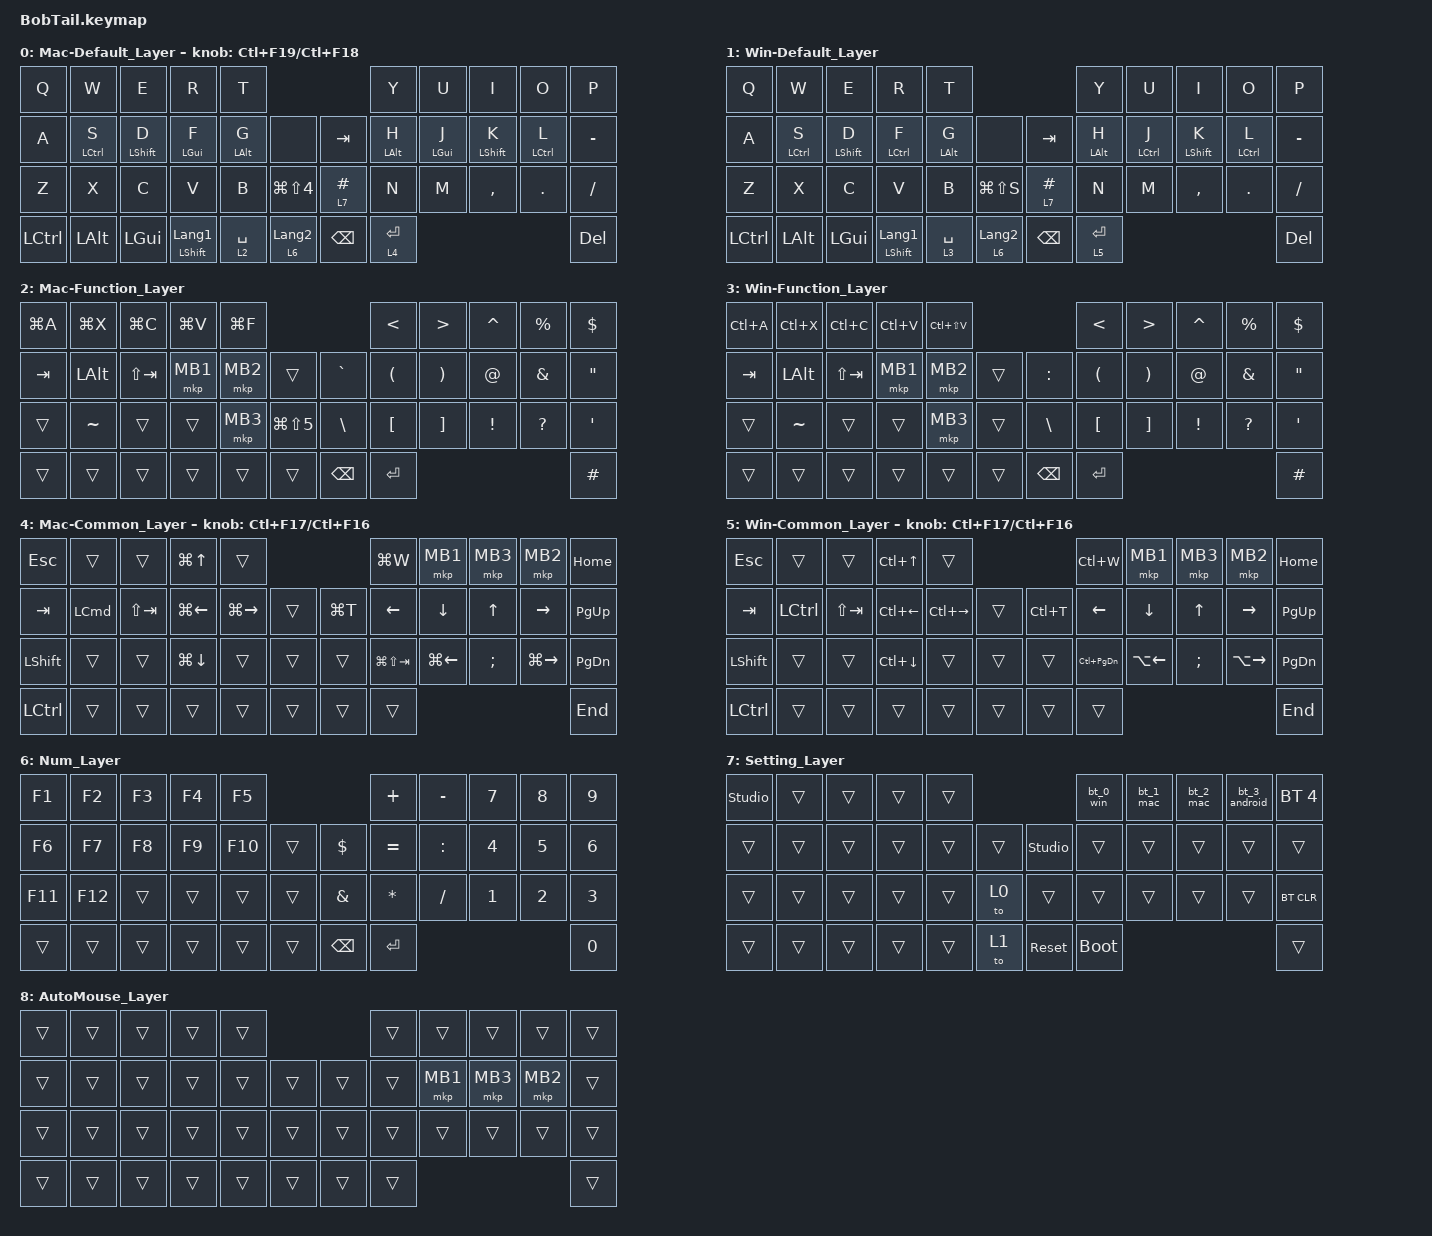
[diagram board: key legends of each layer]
#include <behaviors.dtsi>
#include <dt-bindings/zmk/bt.h>
#include <dt-bindings/zmk/keys.h>
#include <dt-bindings/zmk/pointing.h>

&mt {
    flavor = "balanced";
    quick-tap-ms = <0>;
};

/ {
    combos { compatible = "zmk,combos"; };

    macros {
        to_layer_0: to_layer_0 {
            compatible = "zmk,behavior-macro-one-param";
            #binding-cells = <1>;
            bindings = <&to 0 &macro_param_1to1 &kp MACRO_PLACEHOLDER>;
            label = "TO_LAYER_0";
        };

        bt_0_win: bt_0_win {
            compatible = "zmk,behavior-macro";
            #binding-cells = <0>;
            bindings = <&to 1>, <&macro_wait_time 200>, <&bt BT_SEL 0>;

            label = "BT_0_WIN";
            wait-ms = <200>;
        };

        bt_1_mac: bt_1_mac {
            compatible = "zmk,behavior-macro";
            #binding-cells = <0>;
            bindings = <&to 0>, <&macro_wait_time 200>, <&bt BT_SEL 1>;

            label = "BT_1_MAC";
        };

        bt_2_mac: bt_2_mac {
            compatible = "zmk,behavior-macro";
            #binding-cells = <0>;
            bindings = <&bt BT_SEL 2>, <&macro_wait_time 200>, <&to 0>;

            label = "BT_2_MAC";
        };

        bt_3_android: bt_3_android {
            compatible = "zmk,behavior-macro";
            #binding-cells = <0>;
            bindings = <&to 1>, <&macro_wait_time 200>, <&bt BT_SEL 3>;

            label = "BT_3_ANDROID";
        };
    };

    behaviors {
        // ホーム段の mod-tap。balanced にはしない。指を離すのが遅れると、次のキーと
        // 重なっただけで mod に化けて文字が飛ぶため、押した時間だけで判定する
        hmt: homerow_mod_time {
            compatible = "zmk,behavior-hold-tap";
            label = "HOMEROW_MOD_TIME";
            bindings = <&kp>, <&kp>;

            #binding-cells = <2>;
            flavor = "tap-preferred";
            tapping-term-ms = <280>;
            quick-tap-ms = <175>;
            require-prior-idle-ms = <150>;
        };

        lt_to_layer_0: lt_to_layer_0 {
            compatible = "zmk,behavior-hold-tap";
            label = "LAYER_TAP_TO_0";
            bindings = <&mo>, <&to_layer_0>;

            #binding-cells = <2>;
            tapping-term-ms = <200>;
        };
    };

    keymap {
        compatible = "zmk,keymap";

        Mac-Default_Layer {
            bindings = <
&kp Q      &kp W         &kp E         &kp R                      &kp T                                                &kp Y           &kp U       &kp I             &kp O       &kp P
&kp A      &hmt LCTRL S         &hmt LSHFT D         &hmt LGUI F                      &hmt LALT G           &none               &kp TAB          &hmt LALT H           &hmt LGUI J       &hmt LSHFT K             &hmt LCTRL L       &kp MINUS
&kp Z      &kp X         &kp C         &kp V                      &kp B           &kp LG(LS(N4))      &lt 7 HASH       &kp N           &kp M       &kp COMMA         &kp PERIOD  &kp SLASH
&kp LCTRL  &kp LEFT_ALT  &kp LEFT_GUI  &mt LEFT_SHIFT LANGUAGE_1  &lt 2 SPACE     &lt 6 LANGUAGE_2    &kp BACKSPACE    &lt 4 ENTER                                             &kp DELETE
            >;

            // Orcaのworktreeの切り替え。時計回りでCtrl+F19（前）、反時計回りでCtrl+F18（次）を送り、
            // Orcaの~/.orca/keybindings.jsonで割り当てる。Common以外のレイヤーにも透過する
            sensor-bindings = <&inc_dec_kp LC(F19) LC(F18)>;
        };

        Win-Default_Layer {
            bindings = <
&kp Q      &kp W         &kp E             &kp R                      &kp T                                                &kp Y           &kp U        &kp I             &kp O       &kp P
&kp A      &hmt LCTRL S         &hmt LSHFT D             &hmt LCTRL F                      &hmt LALT G           &none               &kp TAB          &hmt LALT H           &hmt LCTRL J        &hmt LSHFT K             &hmt LCTRL L       &kp MINUS
&kp Z      &kp X         &kp C             &kp V                      &kp B           &kp LG(LS(S))       &lt 7 HASH       &kp N           &kp M        &kp COMMA         &kp PERIOD  &kp SLASH
&kp LCTRL  &kp LEFT_ALT  &kp LEFT_GUI      &mt LEFT_SHIFT LANGUAGE_1  &lt 3 SPACE     &lt 6 LANGUAGE_2    &kp BACKSPACE    &lt 5 ENTER                                              &kp DELETE
            >;
        };

        Mac-Function_Layer {
            bindings = <
&kp LG(A)  &kp LG(X)     &kp LG(C)    &kp LG(V)  &kp LG(F)                                      &kp LESS_THAN         &kp GREATER_THAN       &kp CARET        &kp PERCENT    &kp DOLLAR
&kp TAB    &kp LEFT_ALT  &kp LS(TAB)  &mkp MB1   &mkp MB2   &trans              &kp GRAVE       &kp LEFT_PARENTHESIS  &kp RIGHT_PARENTHESIS  &kp AT_SIGN      &kp AMPERSAND  &kp DOUBLE_QUOTES
&trans     &kp TILDE     &trans       &trans     &mkp MB3   &kp LG(LS(N5))      &kp BACKSLASH   &kp LEFT_BRACKET      &kp RIGHT_BRACKET      &kp EXCLAMATION  &kp QUESTION   &kp SQT
&trans     &trans        &trans       &trans     &trans     &trans              &kp BACKSPACE   &kp ENTER                                                                &kp HASH
            >;
        };

        Win-Function_Layer {
            bindings = <
&kp LC(A)  &kp LC(X)  &kp LC(C)    &kp LC(V)  &kp LC(LS(V))                              &kp LESS_THAN         &kp GREATER_THAN       &kp CARET        &kp PERCENT    &kp DOLLAR
&kp TAB    &kp LALT   &kp LS(TAB)  &mkp MB1   &mkp MB2       &trans      &kp COLON       &kp LEFT_PARENTHESIS  &kp RIGHT_PARENTHESIS  &kp AT_SIGN      &kp AMPERSAND  &kp DOUBLE_QUOTES
&trans     &kp TILDE  &trans       &trans     &mkp MB3       &trans      &kp BACKSLASH   &kp LEFT_BRACKET      &kp RIGHT_BRACKET      &kp EXCLAMATION  &kp QUESTION   &kp SQT
&trans     &trans     &trans       &trans     &trans         &trans      &kp BACKSPACE   &kp ENTER                                                                &kp HASH
            >;
        };

        Mac-Common_Layer {
            bindings = <
&kp ESCAPE      &trans    &trans       &kp LG(UP_ARROW)    &trans                                          &kp LG(W)        &mkp MB1            &mkp MB3      &mkp MB2             &kp HOME
&kp TAB         &kp LCMD  &kp LS(TAB)  &kp LG(LEFT_ARROW)  &kp LG(RIGHT_ARROW)  &trans      &kp LG(T)      &kp LEFT_ARROW   &kp DOWN_ARROW      &kp UP_ARROW  &kp RIGHT_ARROW      &kp PAGE_UP
&kp LEFT_SHIFT  &trans    &trans       &kp LG(DOWN_ARROW)  &trans               &trans      &trans         &kp LG(LS(TAB))  &kp LG(LEFT_ARROW)  &kp SEMI      &kp LG(RIGHT_ARROW)  &kp PAGE_DOWN
&kp LCTRL       &trans    &trans       &trans              &trans               &trans      &trans         &trans                                                                  &kp END
            >;

            // Orcaのタブの切り替え。時計回りでCtrl+F17（次）、反時計回りでCtrl+F16（前）を送り、
            // Orcaのキーバインド設定で割り当てる
            sensor-bindings = <&inc_dec_kp LC(F17) LC(F16)>;
        };

        Win-Common_Layer {
            bindings = <
&kp ESCAPE      &trans     &trans       &kp LC(UP_ARROW)    &trans                                          &kp LC(W)          &mkp MB1            &mkp MB3       &mkp MB2             &kp HOME
&kp TAB         &kp LCTRL  &kp LS(TAB)  &kp LC(LEFT_ARROW)  &kp LC(RIGHT_ARROW)  &trans      &kp LC(T)      &kp LEFT_ARROW     &kp DOWN_ARROW      &kp UP_ARROW   &kp RIGHT_ARROW      &kp PAGE_UP
&kp LEFT_SHIFT  &trans     &trans       &kp LC(DOWN_ARROW)  &trans               &trans      &trans         &kp LC(PAGE_DOWN)  &kp LA(LEFT_ARROW)  &kp SEMICOLON  &kp LA(RIGHT_ARROW)  &kp PAGE_DOWN
&kp LCTRL       &trans     &trans       &trans              &trans               &trans      &trans         &trans                                                                     &kp END
            >;

            // Orcaのタブの切り替え。時計回りでCtrl+F17（次）、反時計回りでCtrl+F16（前）を送り、
            // Orcaのキーバインド設定で割り当てる
            sensor-bindings = <&inc_dec_kp LC(F17) LC(F16)>;
        };

        Num_Layer {
            bindings = <
&kp F1   &kp F2   &kp F3  &kp F4  &kp F5                                   &kp PLUS      &kp MINUS  &kp NUMBER_7  &kp NUMBER_8  &kp NUMBER_9
&kp F6   &kp F7   &kp F8  &kp F9  &kp F10  &trans      &kp DOLLAR      &kp EQUAL     &kp COLON  &kp N4        &kp N5        &kp N6
&kp F11  &kp F12  &trans  &trans  &trans   &trans      &kp AMPERSAND   &kp ASTERISK  &kp SLASH  &kp NUMBER_1  &kp NUMBER_2  &kp NUMBER_3
&trans   &trans   &trans  &trans  &trans   &trans      &kp BACKSPACE   &kp ENTER                                        &kp N0
            >;
        };

        Setting_Layer {
            bindings = <
&studio_unlock  &trans  &trans  &trans  &trans                                  &bt_0_win   &bt_1_mac  &bt_2_mac  &bt_3_android  &bt BT_SEL 4
&trans          &trans  &trans  &trans  &trans  &trans      &studio_unlock  &trans      &trans     &trans     &trans         &trans
&trans          &trans  &trans  &trans  &trans  &to 0       &trans          &trans      &trans     &trans     &trans         &bt BT_CLR
&trans          &trans  &trans  &trans  &trans  &to 1       &sys_reset      &bootloader                                       &trans
            >;
        };

        AutoMouse_Layer {
            bindings = <
&trans  &trans  &trans  &trans  &trans                      &trans  &trans    &trans    &trans    &trans
&trans  &trans  &trans  &trans  &trans  &trans      &trans  &trans  &mkp MB1  &mkp MB3  &mkp MB2  &trans
&trans  &trans  &trans  &trans  &trans  &trans      &trans  &trans  &trans    &trans    &trans    &trans
&trans  &trans  &trans  &trans  &trans  &trans      &trans  &trans                                &trans
            >;
        };
    };
};
